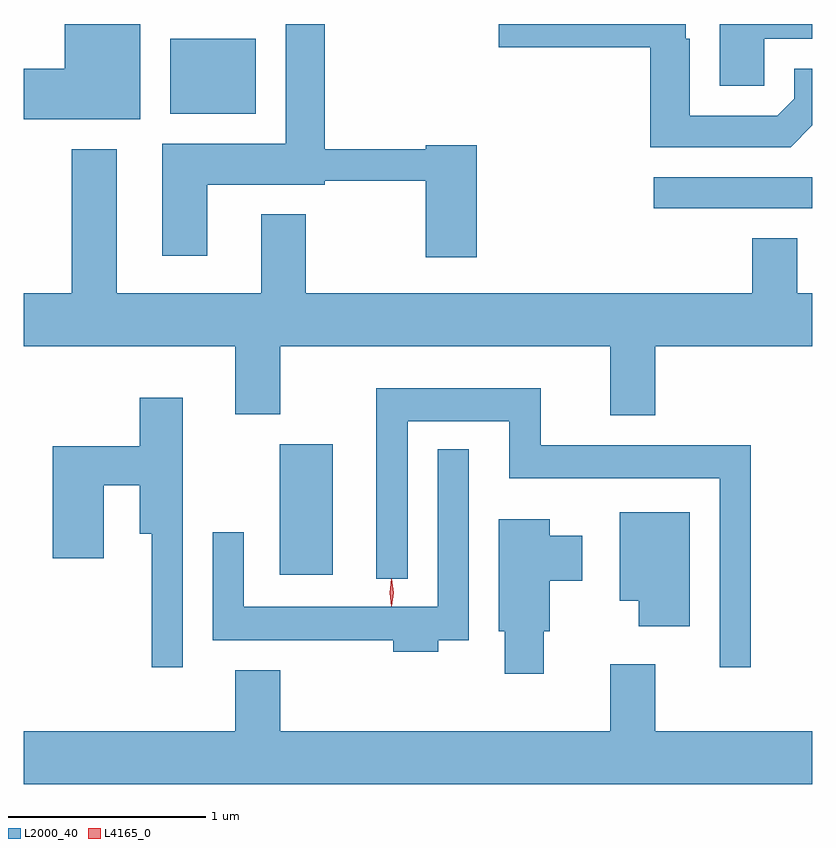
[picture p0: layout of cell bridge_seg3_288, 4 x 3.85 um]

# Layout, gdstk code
import gdstk
lib = gdstk.Library(unit=1e-6, precision=1e-09)
def R(c, l, rs):  # rectangles x0, y0, x1, y1
    for r in rs: c.add(gdstk.rectangle(r[:2], r[2:], *l))
def P(c, l, *ps):  # polygons
    for p in ps: c.add(gdstk.Polygon(p, *l))
L2000_40 = (2000, 40)
L4165_0 = (4165, 0)

bridge_seg3_288 = lib.new_cell('bridge_seg3_288')
R(bridge_seg3_288, L2000_40, [(1015.946,1127.076,1016.214,1127.739), (1017.843,1128.936,1018.647,1129.094), (1015.391,1129.416,1015.824,1129.794)])
P(bridge_seg3_288, L2000_40, [(1018.404,1129.796),(1018.647,1129.796),(1018.647,1129.87),(1018.176,1129.87),(1018.176,1129.556),(1018.404,1129.556)],
  [(1018.647,1129.356),(1018.647,1129.644),(1018.556,1129.644),(1018.556,1129.492),(1018.469,1129.404),(1018.024,1129.404),(1018.024,1129.794),(1018.004,1129.794),(1018.004,1129.87),(1017.056,1129.87),(1017.056,1129.751),(1017.826,1129.751),(1017.826,1129.246),(1018.537,1129.246)],
  [(1015.239,1129.87),(1014.856,1129.87),(1014.856,1129.644),(1014.647,1129.644),(1014.647,1129.386),(1015.239,1129.386)],
  [(1016.944,1129.254),(1016.686,1129.254),(1016.686,1129.234),(1016.174,1129.234),(1016.174,1129.87),(1015.976,1129.87),(1015.976,1129.264),(1015.351,1129.264),(1015.351,1128.696),(1015.579,1128.696),(1015.579,1129.056),(1016.174,1129.056),(1016.174,1129.076),(1016.686,1129.076),(1016.686,1128.686),(1016.944,1128.686)],
  [(1017.849,1128.236),(1018.647,1128.236),(1018.647,1128.504),(1018.569,1128.504),(1018.569,1128.784),(1018.341,1128.784),(1018.341,1128.504),(1016.079,1128.504),(1016.079,1128.904),(1015.851,1128.904),(1015.851,1128.504),(1015.119,1128.504),(1015.119,1129.234),(1014.891,1129.234),(1014.891,1128.504),(1014.647,1128.504),(1014.647,1128.236),(1015.721,1128.236),(1015.721,1127.891),(1015.949,1127.891),(1015.949,1128.236),(1017.621,1128.236),(1017.621,1127.886),(1017.849,1127.886)],
  [(1018.334,1127.734),(1017.269,1127.734),(1017.269,1128.024),(1016.436,1128.024),(1016.436,1127.058),(1016.594,1127.058),(1016.594,1127.856),(1017.111,1127.856),(1017.111,1127.566),(1018.176,1127.566),(1018.176,1126.608),(1018.334,1126.608)],
  [(1015.454,1127.974),(1015.236,1127.974),(1015.236,1127.729),(1014.796,1127.729),(1014.796,1127.161),(1015.054,1127.161),(1015.054,1127.531),(1015.236,1127.531),(1015.236,1127.286),(1015.296,1127.286),(1015.296,1126.608),(1015.454,1126.608)],
  [(1016.749,1126.746),(1016.904,1126.746),(1016.904,1127.713),(1016.746,1127.713),(1016.746,1126.914),(1015.764,1126.914),(1015.764,1127.293),(1015.606,1127.293),(1015.606,1126.746),(1016.521,1126.746),(1016.521,1126.686),(1016.749,1126.686)],
  [(1018.024,1127.394),(1017.671,1127.394),(1017.671,1126.946),(1017.766,1126.946),(1017.766,1126.816),(1018.024,1126.816)],
  [(1017.284,1126.791),(1017.314,1126.791),(1017.314,1127.046),(1017.479,1127.046),(1017.479,1127.274),(1017.314,1127.274),(1017.314,1127.359),(1017.056,1127.359),(1017.056,1126.791),(1017.086,1126.791),(1017.086,1126.576),(1017.284,1126.576)],
  [(1018.647,1126.284),(1017.849,1126.284),(1017.849,1126.624),(1017.621,1126.624),(1017.621,1126.284),(1015.949,1126.284),(1015.949,1126.594),(1015.721,1126.594),(1015.721,1126.284),(1014.647,1126.284),(1014.647,1126.016),(1018.647,1126.016)])
P(bridge_seg3_288, L4165_0, [(1016.513,1126.917),(1016.512,1126.918),(1016.503,1126.987),(1016.512,1127.056),(1016.513,1127.056),(1016.513,1127.056),(1016.523,1126.987),(1016.513,1126.918)])

lib.write_gds('bridge_seg3_288.gds')
